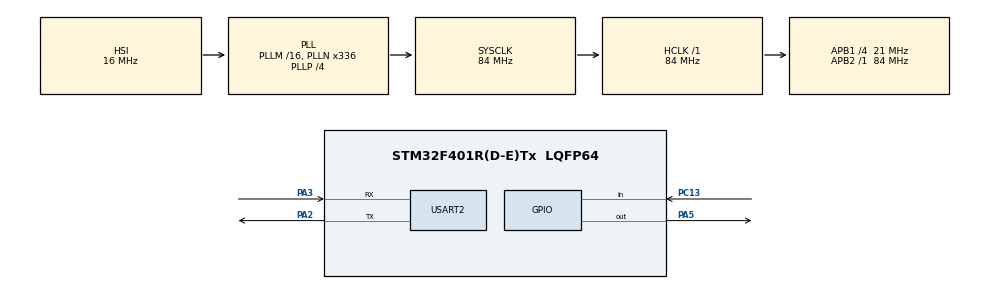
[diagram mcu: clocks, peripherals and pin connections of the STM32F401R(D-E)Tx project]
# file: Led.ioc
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ADC1.Channel-17\#ChannelRegularConversion=ADC_CHANNEL_VBAT
ADC1.NbrOfConversionFlag=1
ADC1.Rank-17\#ChannelRegularConversion=1
ADC1.SamplingTime-17\#ChannelRegularConversion=ADC_SAMPLETIME_3CYCLES
ADC1.master=1
Mcu.Family=STM32F4
Mcu.Name=STM32F401R(D-E)Tx
Mcu.Package=LQFP64
NVIC.PriorityGroup=NVIC_PRIORITYGROUP_4
NVIC.USART2_IRQn=true\:1\:0\:true\:false\:true
PA13.Mode=Serial_Wire
PA13.Signal=SYS_JTMS-SWDIO
PA14.Mode=Serial_Wire
PA14.Signal=SYS_JTCK-SWCLK
PA2.Mode=Multiprocessor_communication
PA2.Signal=USART2_TX
PA3.Mode=Multiprocessor_communication
PA3.Signal=USART2_RX
PA5.Signal=GPIO_Output
PC13-ANTI_TAMP.Signal=GPIO_Input
ProjectManager.HeapSize=0x200
ProjectManager.StackSize=0x400
ProjectManager.TargetToolchain=MDK-ARM V5
RCC.48MHZClocksFreq_Value=84000000
RCC.AHBFreq_Value=84000000
RCC.APB1CLKDivider=RCC_HCLK_DIV4
RCC.APB1Freq_Value=21000000
RCC.APB1TimFreq_Value=42000000
RCC.APB2Freq_Value=84000000
RCC.APB2TimFreq_Value=84000000
RCC.CortexFreq_Value=84000000
RCC.HCLKFreq_Value=84000000
RCC.HSE_VALUE=25000000
RCC.HSI_VALUE=16000000
RCC.LSE_VALUE=32768
RCC.PLLN=336
RCC.PLLP=RCC_PLLP_DIV4
RCC.RCC_TIM_PRescaler_Selection=RCC_TIMPRES_DESACTIVATED
RCC.SYSCLKFreq_VALUE=84000000
RCC.SYSCLKSource=RCC_SYSCLKSOURCE_PLLCLK
RCC.VCOOutputFreq_Value=336000000
VP_ADC1_Vbat_Input.Mode=IN-Vbat
board=Led

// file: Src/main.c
/**
  ******************************************************************************
  * File Name          : main.c
  * Description        : Main program body
  ******************************************************************************
  *
  * COPYRIGHT(c) 2017 STMicroelectronics
  *
  * Redistribution and use in source and binary forms, with or without modification,
  * are permitted provided that the following conditions are met:
  *   1. Redistributions of source code must retain the above copyright notice,
  *      this list of conditions and the following disclaimer.
  *   2. Redistributions in binary form must reproduce the above copyright notice,
  *      this list of conditions and the following disclaimer in the documentation
  *      and/or other materials provided with the distribution.
  *   3. Neither the name of STMicroelectronics nor the names of its contributors
  *      may be used to endorse or promote products derived from this software
  *      without specific prior written permission.
  *
  * THIS SOFTWARE IS PROVIDED BY THE COPYRIGHT HOLDERS AND CONTRIBUTORS "AS IS"
  * AND ANY EXPRESS OR IMPLIED WARRANTIES, INCLUDING, BUT NOT LIMITED TO, THE
  * IMPLIED WARRANTIES OF MERCHANTABILITY AND FITNESS FOR A PARTICULAR PURPOSE ARE
  * DISCLAIMED. IN NO EVENT SHALL THE COPYRIGHT HOLDER OR CONTRIBUTORS BE LIABLE
  * FOR ANY DIRECT, INDIRECT, INCIDENTAL, SPECIAL, EXEMPLARY, OR CONSEQUENTIAL
  * DAMAGES (INCLUDING, BUT NOT LIMITED TO, PROCUREMENT OF SUBSTITUTE GOODS OR
  * SERVICES; LOSS OF USE, DATA, OR PROFITS; OR BUSINESS INTERRUPTION) HOWEVER
  * CAUSED AND ON ANY THEORY OF LIABILITY, WHETHER IN CONTRACT, STRICT LIABILITY,
  * OR TORT (INCLUDING NEGLIGENCE OR OTHERWISE) ARISING IN ANY WAY OUT OF THE USE
  * OF THIS SOFTWARE, EVEN IF ADVISED OF THE POSSIBILITY OF SUCH DAMAGE.
  *
  ******************************************************************************
  */
#include "main.h"
#include "stm32f4xx_hal.h"

ADC_HandleTypeDef hadc1;

UART_HandleTypeDef huart2;

/* USER CODE BEGIN PV */
/* Private variables ---------------------------------------------------------*/

/* USER CODE END PV */

void SystemClock_Config(void);
void Error_Handler(void);
static void MX_GPIO_Init(void);
static void MX_USART2_UART_Init(void);
static void MX_ADC1_Init(void);

/* USER CODE BEGIN PFP */
/* Private function prototypes -----------------------------------------------*/

/* USER CODE END PFP */

int main(void)
{

  /* MCU Configuration----------------------------------------------------------*/

  /* Reset of all peripherals, Initializes the Flash interface and the Systick. */
  HAL_Init();

  /* Configure the system clock */
  SystemClock_Config();

  /* Initialize all configured peripherals */
  MX_GPIO_Init();
  MX_USART2_UART_Init();
  MX_ADC1_Init();

  /* USER CODE BEGIN 2 */
	#include "sys.h"
	 SER_Initialize();
	 View_Clock();
  //HAL_GPIO_WritePin(GPIOA,GPIO_PIN_5,GPIO_PIN_SET);
	//USART2测试
	 uint8_t *testBuf1="\r\n----------------------\r\n";
	 uint8_t testBuf2[6]={0};
	 int index=0;
	 uint32_t vbat[10]={0};
	float Temperature=0;
	float V25=760;
	float Avg_Slope=2.5;
	float  Value[10]={0};

	 	while(index<10)
	{
		/***单次转换触发中断，DMA中断或者ADC中断***/
		  HAL_ADC_Start_DMA(&hadc1,vbat,10);                      //一次实现该函数即一次实现ADC转化10次
		  vbat[index]=HAL_ADC_GetValue (&hadc1);           //Gets the converted value from data register of regular channel
			 printf("vbat  : %d\r\n",vbat[index]/2);
		  index++;
	}
  /* USER CODE END 2 */

  /* Infinite loop */
  /* USER CODE BEGIN WHILE */
  while (1)
  {
		if (HAL_UART_Receive_IT(&huart2, testBuf2, 6)==HAL_OK)
		{
			 printf("\r\n%s\r\n",testBuf2);
			 HAL_UART_Transmit(&huart2,testBuf1,6,0xff);
		}

  /* USER CODE END WHILE */

  /* USER CODE BEGIN 3 */
//		if(HAL_GPIO_ReadPin(GPIOC,  GPIO_PIN_13)==GPIO_PIN_SET)
//			HAL_GPIO_TogglePin(GPIOA,GPIO_PIN_5);
  }
  /* USER CODE END 3 */

}

/** System Clock Configuration
*/
void SystemClock_Config(void)
{

  RCC_OscInitTypeDef RCC_OscInitStruct;
  RCC_ClkInitTypeDef RCC_ClkInitStruct;

    /**Configure the main internal regulator output voltage
    */
  __HAL_RCC_PWR_CLK_ENABLE();

  __HAL_PWR_VOLTAGESCALING_CONFIG(PWR_REGULATOR_VOLTAGE_SCALE2);

    /**Initializes the CPU, AHB and APB busses clocks
    */
  RCC_OscInitStruct.OscillatorType = RCC_OSCILLATORTYPE_HSI;
  RCC_OscInitStruct.HSIState = RCC_HSI_ON;
  RCC_OscInitStruct.HSICalibrationValue = 16;
  RCC_OscInitStruct.PLL.PLLState = RCC_PLL_ON;
  RCC_OscInitStruct.PLL.PLLSource = RCC_PLLSOURCE_HSI;
  RCC_OscInitStruct.PLL.PLLM = 16;
  RCC_OscInitStruct.PLL.PLLN = 336;
  RCC_OscInitStruct.PLL.PLLP = RCC_PLLP_DIV4;
  RCC_OscInitStruct.PLL.PLLQ = 4;
  if (HAL_RCC_OscConfig(&RCC_OscInitStruct) != HAL_OK)
  {
    Error_Handler();
  }

    /**Initializes the CPU, AHB and APB busses clocks
    */
  RCC_ClkInitStruct.ClockType = RCC_CLOCKTYPE_HCLK|RCC_CLOCKTYPE_SYSCLK
                              |RCC_CLOCKTYPE_PCLK1|RCC_CLOCKTYPE_PCLK2;
  RCC_ClkInitStruct.SYSCLKSource = RCC_SYSCLKSOURCE_PLLCLK;
  RCC_ClkInitStruct.AHBCLKDivider = RCC_SYSCLK_DIV1;
  RCC_ClkInitStruct.APB1CLKDivider = RCC_HCLK_DIV4;
  RCC_ClkInitStruct.APB2CLKDivider = RCC_HCLK_DIV1;

  if (HAL_RCC_ClockConfig(&RCC_ClkInitStruct, FLASH_LATENCY_2) != HAL_OK)
  {
    Error_Handler();
  }

    /**Configure the Systick interrupt time
    */
  HAL_SYSTICK_Config(HAL_RCC_GetHCLKFreq()/1000);

    /**Configure the Systick
    */
  HAL_SYSTICK_CLKSourceConfig(SYSTICK_CLKSOURCE_HCLK);

  /* SysTick_IRQn interrupt configuration */
  HAL_NVIC_SetPriority(SysTick_IRQn, 0, 0);
}

/* ADC1 init function */
static void MX_ADC1_Init(void)
{

  ADC_ChannelConfTypeDef sConfig;

    /**Configure the global features of the ADC (Clock, Resolution, Data Alignment and number of conversion)
    */
  hadc1.Instance = ADC1;
  hadc1.Init.ClockPrescaler = ADC_CLOCK_SYNC_PCLK_DIV4;
  hadc1.Init.Resolution = ADC_RESOLUTION_12B;
  hadc1.Init.ScanConvMode = DISABLE;
  hadc1.Init.ContinuousConvMode = DISABLE;
  hadc1.Init.DiscontinuousConvMode = DISABLE;
  hadc1.Init.ExternalTrigConvEdge = ADC_EXTERNALTRIGCONVEDGE_NONE;
  hadc1.Init.DataAlign = ADC_DATAALIGN_RIGHT;
  hadc1.Init.NbrOfConversion = 1;
  hadc1.Init.DMAContinuousRequests = DISABLE;
  hadc1.Init.EOCSelection = ADC_EOC_SINGLE_CONV;
  if (HAL_ADC_Init(&hadc1) != HAL_OK)
  {
    Error_Handler();
  }

    /**Configure for the selected ADC regular channel its corresponding rank in the sequencer and its sample time.
    */
  sConfig.Channel = ADC_CHANNEL_VBAT;
  sConfig.Rank = 1;
  sConfig.SamplingTime = ADC_SAMPLETIME_3CYCLES;
  if (HAL_ADC_ConfigChannel(&hadc1, &sConfig) != HAL_OK)
  {
    Error_Handler();
  }

}

/* USART2 init function */
static void MX_USART2_UART_Init(void)
{

  huart2.Instance = USART2;
  huart2.Init.BaudRate = 115200;
  huart2.Init.WordLength = UART_WORDLENGTH_8B;
  huart2.Init.StopBits = UART_STOPBITS_1;
  huart2.Init.Parity = UART_PARITY_NONE;
  huart2.Init.Mode = UART_MODE_TX_RX;
  huart2.Init.HwFlowCtl = UART_HWCONTROL_NONE;
  huart2.Init.OverSampling = UART_OVERSAMPLING_16;
  if (HAL_MultiProcessor_Init(&huart2, 0, UART_WAKEUPMETHOD_IDLELINE) != HAL_OK)
  {
    Error_Handler();
  }

}

/** Configure pins as
        * Analog
        * Input
        * Output
        * EVENT_OUT
        * EXTI
*/
static void MX_GPIO_Init(void)
{

  GPIO_InitTypeDef GPIO_InitStruct;

  /* GPIO Ports Clock Enable */
  __HAL_RCC_GPIOC_CLK_ENABLE();
  __HAL_RCC_GPIOA_CLK_ENABLE();

  /*Configure GPIO pin : PC13 */
  GPIO_InitStruct.Pin = GPIO_PIN_13;
  GPIO_InitStruct.Mode = GPIO_MODE_INPUT;
  GPIO_InitStruct.Pull = GPIO_NOPULL;
  HAL_GPIO_Init(GPIOC, &GPIO_InitStruct);

  /*Configure GPIO pin : PA5 */
  GPIO_InitStruct.Pin = GPIO_PIN_5;
  GPIO_InitStruct.Mode = GPIO_MODE_OUTPUT_PP;
  GPIO_InitStruct.Pull = GPIO_NOPULL;
  GPIO_InitStruct.Speed = GPIO_SPEED_FREQ_LOW;
  HAL_GPIO_Init(GPIOA, &GPIO_InitStruct);

  /*Configure GPIO pin Output Level */
  HAL_GPIO_WritePin(GPIOA, GPIO_PIN_5, GPIO_PIN_RESET);

}

void Error_Handler(void)
{
  while(1)
  {
  }
}

/************************ (C) COPYRIGHT STMicroelectronics *****END OF FILE****/
